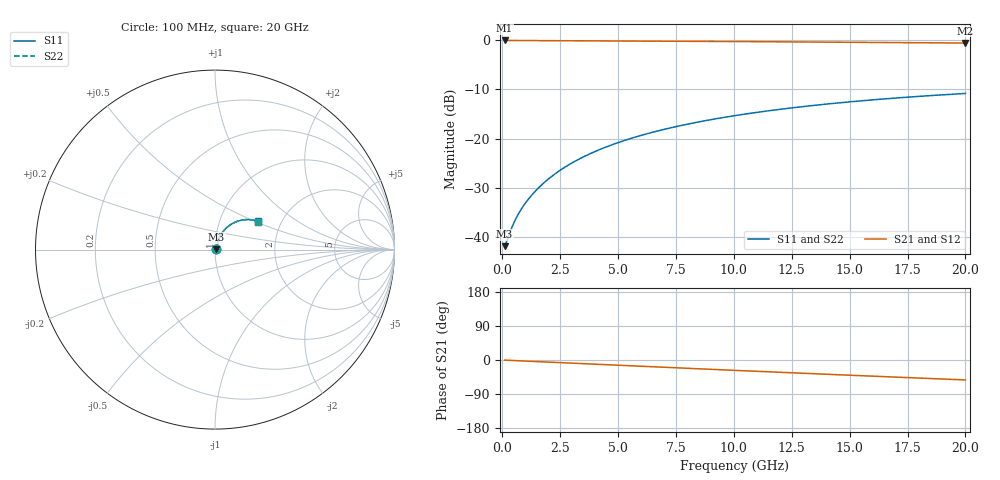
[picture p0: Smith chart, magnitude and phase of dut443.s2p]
! Touchstone file exported from HFSS 2026.1.0
!  File:  C:/ffzhzh/LocalFiles/Ansys_Project_Files/temp_train_BSMRDL_443_1783013135_46388.aedt
!  Generated:  01:26:51 AM Jul  3, 2026
!  Design:  BSMRDL
!  Project:  temp_train_BSMRDL_443_1783013135_46388
! Variables:
!  h_bsmrdl = 2.85um
!  h_ox = 20um
!  h_rdl = 5um
!  h_sub = 80um
!  h_tmrdl = 5um
!  h_tsv = 80um
!  h_via = 3um
!  l_bsmrdl = 905.8um
!  l_sub = 1305.8um
!  l_tmrdl = 200um
!  m_sub = 200um
!  pitch = 23.22um
!  r_tsv = 6um
!  s_tmrdl = 10um
!  w_bsmrdl = 14.62um
!  w_sub = 500um
!  w_tmrdl = 12um
!  x_tsv_center1 = 206um
!  x_tsv_center2 = 1126.42um
!  x_tsv_center3 = 1338.42um
!  x_tsv_center4 = 2258.84um
!  x_tsv_center5 = 2470.84um
!  x_tsv_center6 = 3391.26um
# GHz S MA R 50.000000
! Terminal data exported
! Port[1] = BSM_RDL1_1_T1
! Port[2] = BSM_RDL1_1_T2
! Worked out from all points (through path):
!   200 points, 100 MHz to 20 GHz, reference 50 ohm
!   highest |S21| = -0.07 dB at 100 MHz (marker M1); lowest = -0.6 dB at 20 GHz (marker M2)
!   group delay of S21, straight-line fit = 7.3 ps
!   lowest |S11| = -41.8 dB at 100 MHz (marker M3), VSWR 1.02, Z = 50.8 + j0.233 ohm
!   |S11| at or under -10 dB: start of sweep to end of sweep
!   |S22| runs from -41.8 to -10.8 dB; largest |S21 - S12| = 3.1e-15
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0.1  0.008092 16.5  0.9923 -0.3  0.9923 -0.3  0.008092 16.5
! Gamma 0 0 0 0
! Port Impedance 50 0 50 0
0.2  0.009199 29.4  0.992 -0.6  0.992 -0.6  0.009199 29.4
0.4  0.01231 44.5  0.9914 -1.2  0.9914 -1.2  0.01231 44.5
0.6  0.01563 52.1  0.9907 -1.8  0.9907 -1.8  0.01563 52.1
0.7  0.01728 54.7  0.9904 -2.0  0.9904 -2.0  0.01728 54.7
0.9  0.02056 58.7  0.99 -2.6  0.99 -2.6  0.02056 58.7
1.1  0.02385 61.6  0.9896 -3.1  0.9896 -3.1  0.02385 61.6
1.3  0.02717 63.8  0.9893 -3.7  0.9893 -3.7  0.02717 63.8
1.8  0.03564 67.3  0.9887 -5.1  0.9887 -5.1  0.03564 67.3
2.3  0.04427 69.0  0.988 -6.4  0.988 -6.4  0.04427 69.0
2.9  0.05472 69.8  0.9871 -8.1  0.9871 -8.1  0.05472 69.8
3.5  0.0652 69.8  0.9861 -9.8  0.9861 -9.8  0.0652 69.8
4.2  0.07735 69.2  0.9847 -11.7  0.9847 -11.7  0.07735 69.2
5  0.09109 68.0  0.983 -13.9  0.983 -13.9  0.09109 68.0
5.9  0.1063 66.3  0.9807 -16.3  0.9807 -16.3  0.1063 66.3
6.8  0.1211 64.4  0.9782 -18.7  0.9782 -18.7  0.1211 64.4
8.3  0.1449 61.0  0.9737 -22.8  0.9737 -22.8  0.1449 61.0
10.1  0.172 56.7  0.9677 -27.5  0.9677 -27.5  0.172 56.7
11.7  0.1945 52.8  0.9622 -31.7  0.9622 -31.7  0.1945 52.8
13.4  0.2168 48.7  0.9562 -36.1  0.9562 -36.1  0.2168 48.7
16.7  0.2553 40.8  0.9448 -44.5  0.9448 -44.5  0.2553 40.8
20  0.2873 33.0  0.9342 -52.6  0.9342 -52.6  0.2873 33.0
